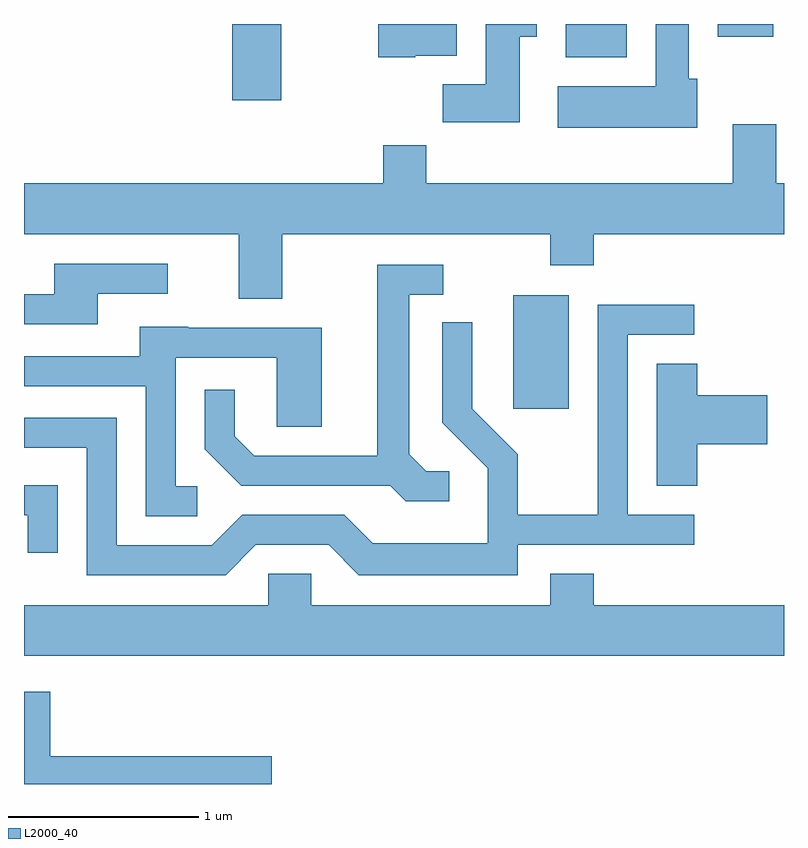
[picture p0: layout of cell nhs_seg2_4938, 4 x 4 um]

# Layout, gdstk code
import gdstk
lib = gdstk.Library(unit=1e-6, precision=1e-09)
def R(c, l, rs):  # rectangles x0, y0, x1, y1
    for r in rs: c.add(gdstk.rectangle(r[:2], r[2:], *l))
def P(c, l, *ps):  # polygons
    for p in ps: c.add(gdstk.Polygon(p, *l))
L2000_40 = (2000, 40)

nhs_seg2_4938 = lib.new_cell('nhs_seg2_4938')
R(nhs_seg2_4938, L2000_40, [(332.186,1111.776,332.479,1112.374), (330.706,1113.401,330.964,1113.802), (332.461,1113.626,332.784,1113.802), (333.261,1113.736,333.554,1113.802)])
P(nhs_seg2_4938, L2000_40, [(333.154,1113.514),(333.109,1113.514),(333.109,1113.802),(332.936,1113.802),(332.936,1113.474),(332.421,1113.474),(332.421,1113.256),(333.154,1113.256)],
  [(332.219,1113.736),(332.309,1113.736),(332.309,1113.802),(332.041,1113.802),(332.041,1113.484),(331.816,1113.484),(331.816,1113.286),(332.219,1113.286)],
  [(331.67,1113.636),(331.889,1113.636),(331.889,1113.802),(331.476,1113.802),(331.476,1113.626),(331.67,1113.626)],
  [(332.381,1112.531),(332.609,1112.531),(332.609,1112.696),(333.611,1112.696),(333.611,1112.964),(333.569,1112.964),(333.569,1113.274),(333.341,1113.274),(333.341,1112.964),(331.729,1112.964),(331.729,1113.164),(331.501,1113.164),(331.501,1112.964),(329.611,1112.964),(329.611,1112.696),(330.741,1112.696),(330.741,1112.356),(330.969,1112.356),(330.969,1112.696),(332.381,1112.696)],
  [(329.999,1112.381),(330.368,1112.381),(330.368,1112.539),(329.771,1112.539),(329.771,1112.379),(329.611,1112.379),(329.611,1112.221),(329.999,1112.221)],
  [(331.848,1111.449),(331.727,1111.449),(331.639,1111.537),(331.639,1112.376),(331.818,1112.376),(331.818,1112.534),(331.471,1112.534),(331.471,1111.529),(330.822,1111.529),(330.719,1111.632),(330.719,1111.878),(330.561,1111.878),(330.561,1111.564),(330.754,1111.371),(331.539,1111.371),(331.619,1111.291),(331.848,1111.291)],
  [(330.832,1111.061),(331.214,1111.061),(331.374,1110.901),(332.209,1110.901),(332.209,1111.061),(333.138,1111.061),(333.138,1111.219),(332.789,1111.219),(332.789,1112.166),(333.138,1112.166),(333.138,1112.324),(332.631,1112.324),(332.631,1111.219),(332.209,1111.219),(332.209,1111.537),(331.969,1111.777),(331.969,1112.233),(331.811,1112.233),(331.811,1111.704),(332.051,1111.464),(332.051,1111.069),(331.447,1111.069),(331.297,1111.219),(330.759,1111.219),(330.599,1111.059),(330.099,1111.059),(330.099,1111.729),(329.611,1111.729),(329.611,1111.571),(329.941,1111.571),(329.941,1110.901),(330.672,1110.901)],
  [(330.523,1111.369),(330.409,1111.369),(330.409,1112.046),(330.941,1112.046),(330.941,1111.681),(331.179,1111.681),(331.179,1112.204),(330.475,1112.204),(330.475,1112.209),(330.221,1112.209),(330.221,1112.054),(329.611,1112.054),(329.611,1111.896),(330.251,1111.896),(330.251,1111.211),(330.523,1111.211)],
  [(333.154,1111.591),(333.524,1111.591),(333.524,1111.849),(333.154,1111.849),(333.154,1112.014),(332.941,1112.014),(332.941,1111.371),(333.154,1111.371)],
  [(329.789,1111.374),(329.611,1111.374),(329.611,1111.216),(329.631,1111.216),(329.631,1111.018),(329.789,1111.018)],
  [(333.611,1110.744),(332.609,1110.744),(332.609,1110.909),(332.381,1110.909),(332.381,1110.744),(331.124,1110.744),(331.124,1110.909),(330.896,1110.909),(330.896,1110.744),(329.611,1110.744),(329.611,1110.476),(333.611,1110.476)],
  [(330.914,1109.949),(329.749,1109.949),(329.749,1110.288),(329.611,1110.288),(329.611,1109.802),(330.914,1109.802)])

lib.write_gds('nhs_seg2_4938.gds')
